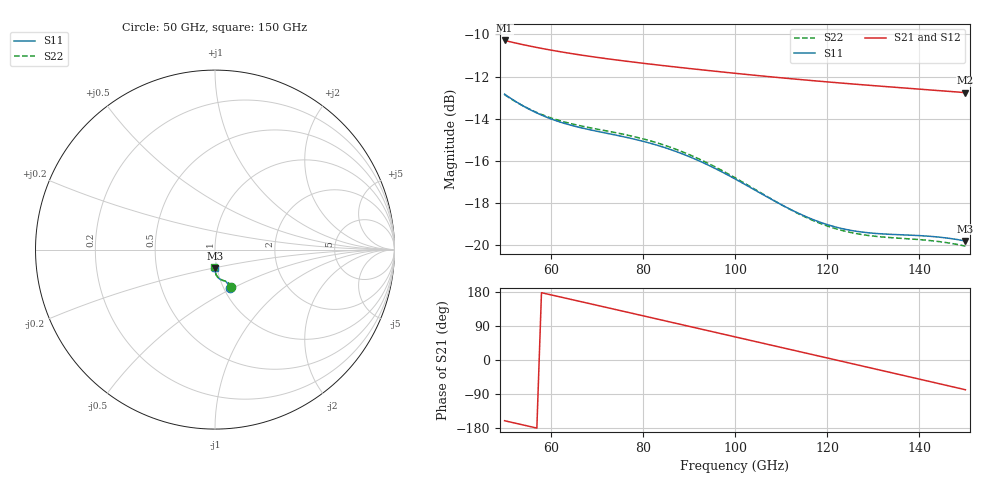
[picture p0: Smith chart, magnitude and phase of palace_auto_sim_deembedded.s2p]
! Created with skrf 1.11.0 (http://scikit-rf.org).
# GHz S DB R 50.0
!freq dBS11 angS11 dBS21 angS21 dBS12 angS12 dBS22 angS22
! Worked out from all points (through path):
!   101 points, 50 GHz to 150 GHz, reference 50 ohm
!   highest |S21| = -10.29 dB at 50 GHz (marker M1); lowest = -12.8 dB at 150 GHz (marker M2)
!   group delay of S21, straight-line fit = 7.73 ps
!   lowest |S11| = -19.8 dB at 150 GHz (marker M3), VSWR 1.23, Z = 49.1 - j10.1 ohm
!   |S11| at or under -10 dB: start of sweep to end of sweep
!   |S22| runs from -20.1 to -12.9 dB; largest |S21 - S12| = 2.7e-13
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50  -12.84 -69.1  -10.29 -160.3  -10.29 -160.3  -12.86 -67.2
54  -13.39 -69.5  -10.49 -171.3  -10.49 -171.3  -13.39 -67.4
58  -13.83 -69.8  -10.66 177.6  -10.66 177.6  -13.80 -67.6
62  -14.16 -70.1  -10.82 166.6  -10.82 166.6  -14.09 -68.0
67  -14.45 -71.0  -10.99 152.8  -10.99 152.8  -14.36 -68.9
72  -14.68 -72.5  -11.15 139.0  -11.15 139.0  -14.57 -70.6
76  -14.87 -74.2  -11.26 127.9  -11.26 127.9  -14.75 -72.5
80  -15.07 -76.3  -11.37 116.8  -11.37 116.8  -14.96 -74.8
84  -15.32 -78.5  -11.47 105.7  -11.47 105.7  -15.21 -77.2
88  -15.62 -80.9  -11.57 94.5  -11.57 94.5  -15.52 -79.7
92  -15.98 -83.2  -11.66 83.4  -11.66 83.4  -15.89 -82.2
96  -16.40 -85.2  -11.75 72.2  -11.75 72.2  -16.32 -84.5
100  -16.86 -86.9  -11.84 61.1  -11.84 61.1  -16.80 -86.4
105  -17.47 -88.4  -11.95 47.2  -11.95 47.2  -17.44 -88.1
109  -17.96 -88.9  -12.04 36.0  -12.04 36.0  -17.95 -88.8
117  -18.79 -88.3  -12.20 13.7  -12.20 13.7  -18.84 -88.7
121  -19.09 -87.5  -12.27 2.6  -12.27 2.6  -19.16 -88.2
125  -19.29 -86.7  -12.34 -8.5  -12.34 -8.5  -19.40 -87.6
129  -19.42 -86.1  -12.41 -19.7  -12.41 -19.7  -19.54 -87.3
134  -19.49 -85.9  -12.50 -33.7  -12.50 -33.7  -19.65 -87.4
142  -19.58 -87.0  -12.63 -56.0  -12.63 -56.0  -19.78 -89.3
150  -19.80 -89.3  -12.76 -78.5  -12.76 -78.5  -20.05 -92.7
